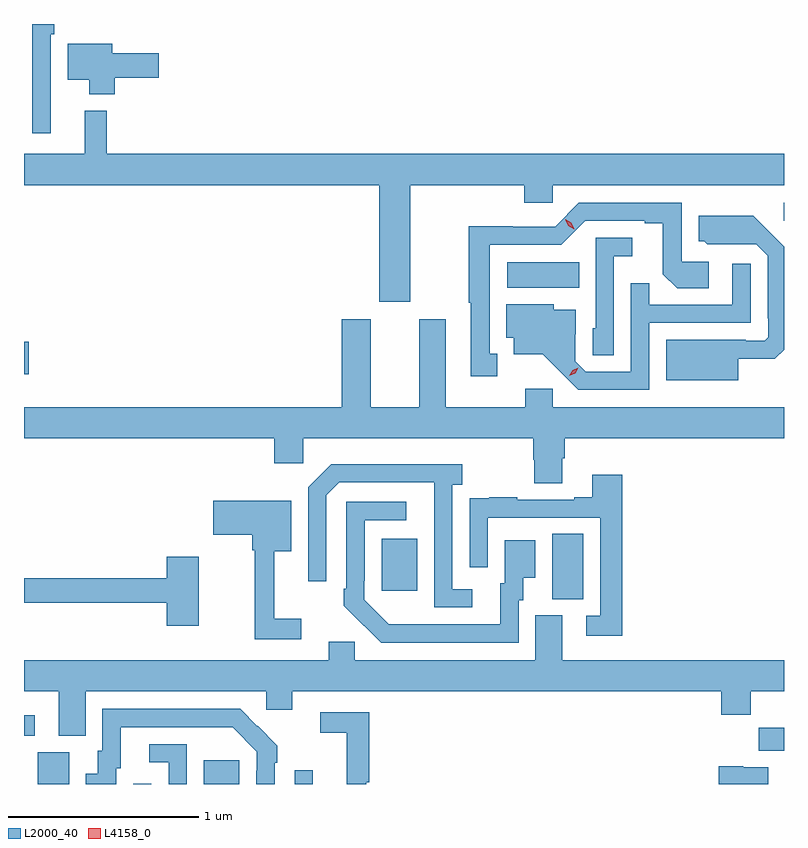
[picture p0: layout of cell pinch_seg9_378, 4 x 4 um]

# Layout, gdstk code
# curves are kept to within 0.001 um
import gdstk
lib = gdstk.Library(unit=1e-6, precision=1e-09)
def R(c, l, rs):  # rectangles x0, y0, x1, y1
    for r in rs: c.add(gdstk.rectangle(r[:2], r[2:], *l))
def P(c, l, *ps):  # polygons
    for p in ps: c.add(gdstk.Polygon(p, *l))
L2000_40 = (2000, 40)
L4158_0 = (4158, 0)

pinch_seg9_378 = lib.new_cell('pinch_seg9_378')
R(pinch_seg9_378, L2000_40, [(335.15,1242.552,335.314,1242.72), (335.652,1242.552,335.748,1242.553), (336.023,1242.552,336.211,1242.676), (336.501,1242.552,336.597,1242.625), (338.944,1242.728,339.077,1242.847), (335.077,1242.807,335.134,1242.913), (337.856,1243.525,338.02,1243.868), (336.959,1243.569,337.147,1243.843), (335.077,1244.708,335.101,1244.879), (337.62,1245.164,338,1245.298), (339.075,1245.516,339.077,1245.612)])
P(pinch_seg9_378, L2000_40, [(335.217,1246.499),(335.237,1246.499),(335.237,1246.552),(335.12,1246.552),(335.12,1245.978),(335.217,1245.978)],
  [(335.555,1246.27),(335.785,1246.27),(335.785,1246.399),(335.542,1246.399),(335.542,1246.447),(335.306,1246.447),(335.306,1246.259),(335.42,1246.259),(335.42,1246.181),(335.555,1246.181)],
  [(337.111,1245.704),(337.709,1245.704),(337.709,1245.611),(337.86,1245.611),(337.86,1245.704),(339.077,1245.704),(339.077,1245.868),(335.513,1245.868),(335.513,1246.096),(335.396,1246.096),(335.396,1245.868),(335.077,1245.868),(335.077,1245.704),(336.947,1245.704),(336.947,1245.09),(337.111,1245.09)],
  [(337.567,1244.817),(337.528,1244.817),(337.528,1245.39),(337.905,1245.39),(338.031,1245.516),(338.345,1245.516),(338.345,1245.504),(338.439,1245.504),(338.439,1245.236),(338.515,1245.16),(338.68,1245.16),(338.68,1245.3),(338.538,1245.3),(338.538,1245.612),(337.998,1245.612),(337.872,1245.486),(337.65,1245.486),(337.65,1245.488),(337.417,1245.488),(337.417,1245.085),(337.427,1245.085),(337.427,1244.697),(337.567,1244.697)],
  [(338.836,1244.789),(339.028,1244.789),(339.077,1244.838),(339.077,1245.38),(338.915,1245.544),(338.627,1245.544),(338.627,1245.408),(338.658,1245.408),(338.674,1245.392),(338.931,1245.393),(338.991,1245.333),(338.991,1245.004),(338.994,1245.004),(338.994,1244.904),(338.976,1244.886),(338.876,1244.886),(338.876,1244.89),(338.456,1244.89),(338.456,1244.678),(338.836,1244.678)],
  [(338.181,1245.329),(338.278,1245.329),(338.278,1245.426),(338.085,1245.426),(338.085,1244.952),(338.07,1244.952),(338.07,1244.809),(338.181,1244.809)],
  [(338.367,1244.979),(338.901,1244.979),(338.901,1245.289),(338.805,1245.289),(338.805,1245.075),(338.369,1245.075),(338.369,1245.188),(338.271,1245.188),(338.271,1244.721),(338.034,1244.721),(337.977,1244.778),(337.977,1244.92),(337.981,1244.92),(337.981,1245.049),(337.866,1245.049),(337.866,1245.076),(337.616,1245.076),(337.616,1244.9),(337.655,1244.9),(337.655,1244.813),(337.807,1244.813),(337.994,1244.628),(338.367,1244.628)],
  [(337.909,1244.266),(337.922,1244.266),(337.922,1244.372),(339.077,1244.372),(339.077,1244.536),(337.86,1244.536),(337.86,1244.632),(337.714,1244.632),(337.714,1244.536),(337.297,1244.536),(337.297,1244.998),(337.157,1244.998),(337.157,1244.536),(336.901,1244.536),(336.901,1244.998),(336.749,1244.998),(336.749,1244.536),(335.077,1244.536),(335.077,1244.372),(336.395,1244.372),(336.395,1244.241),(336.546,1244.241),(336.546,1244.372),(337.757,1244.372),(337.757,1244.259),(337.762,1244.259),(337.762,1244.134),(337.909,1244.134)],
  [(337.435,1243.578),(337.332,1243.578),(337.332,1244.126),(337.384,1244.126),(337.384,1244.236),(336.694,1244.236),(336.573,1244.115),(336.573,1243.62),(336.669,1243.62),(336.669,1244.073),(336.735,1244.139),(337.235,1244.139),(337.236,1243.482),(337.435,1243.482)],
  [(338.225,1244.179),(338.069,1244.179),(338.069,1244.062),(337.973,1244.062),(337.973,1244.049),(337.673,1244.049),(337.673,1244.062),(337.525,1244.062),(337.525,1244.055),(337.423,1244.055),(337.423,1243.946),(337.422,1243.946),(337.422,1243.692),(337.518,1243.692),(337.518,1243.953),(338.109,1243.953),(338.109,1243.437),(338.037,1243.437),(338.037,1243.332),(338.225,1243.332)],
  [(336.535,1243.423),(336.395,1243.423),(336.395,1243.778),(336.484,1243.778),(336.484,1244.043),(336.072,1244.043),(336.072,1243.865),(336.277,1243.865),(336.277,1243.781),(336.292,1243.781),(336.292,1243.314),(336.535,1243.314)],
  [(337.68,1243.518),(337.705,1243.518),(337.705,1243.637),(337.768,1243.637),(337.768,1243.834),(337.607,1243.834),(337.607,1243.608),(337.583,1243.608),(337.583,1243.392),(336.996,1243.393),(336.867,1243.521),(336.867,1243.621),(336.87,1243.621),(336.87,1243.941),(337.09,1243.941),(337.09,1244.037),(336.774,1244.037),(336.774,1243.579),(336.759,1243.579),(336.759,1243.491),(336.956,1243.296),(337.68,1243.296)],
  [(335.998,1243.747),(335.828,1243.747),(335.828,1243.634),(335.077,1243.634),(335.077,1243.506),(335.828,1243.506),(335.828,1243.386),(335.998,1243.386)],
  [(335.401,1243.04),(336.351,1243.04),(336.351,1242.942),(336.49,1242.942),(336.49,1243.04),(338.747,1243.04),(338.747,1242.916),(338.903,1242.916),(338.903,1243.04),(339.077,1243.04),(339.077,1243.204),(337.909,1243.204),(337.909,1243.44),(337.769,1243.44),(337.769,1243.204),(336.819,1243.204),(336.819,1243.302),(336.68,1243.302),(336.68,1243.204),(335.077,1243.204),(335.077,1243.04),(335.261,1243.04),(335.261,1242.805),(335.401,1242.805)],
  [(335.563,1242.636),(335.587,1242.636),(335.587,1242.852),(336.175,1242.852),(336.303,1242.723),(336.303,1242.623),(336.3,1242.623),(336.3,1242.552),(336.396,1242.552),(336.396,1242.665),(336.411,1242.665),(336.411,1242.753),(336.214,1242.948),(335.49,1242.948),(335.49,1242.726),(335.465,1242.726),(335.465,1242.607),(335.402,1242.607),(335.402,1242.552),(335.563,1242.552)],
  [(336.878,1242.562),(336.893,1242.562),(336.893,1242.93),(336.636,1242.93),(336.636,1242.822),(336.776,1242.822),(336.776,1242.552),(336.878,1242.552)],
  [(335.934,1242.762),(335.736,1242.762),(335.736,1242.666),(335.838,1242.666),(335.838,1242.552),(335.934,1242.552)],
  [(338.995,1242.64),(338.862,1242.64),(338.862,1242.646),(338.733,1242.646),(338.733,1242.552),(338.995,1242.552)])
P(pinch_seg9_378, L4158_0, [(337.946,1244.7),(337.946,1244.7),(337.964,1244.729),(337.994,1244.743),(337.995,1244.743),(337.995,1244.743),(337.977,1244.714),(337.946,1244.7)],
  [(337.973,1245.472),(337.942,1245.491),(337.925,1245.524),(337.925,1245.524),(337.925,1245.524),(337.956,1245.505),(337.974,1245.473),(337.974,1245.472)])

lib.write_gds('pinch_seg9_378.gds')
